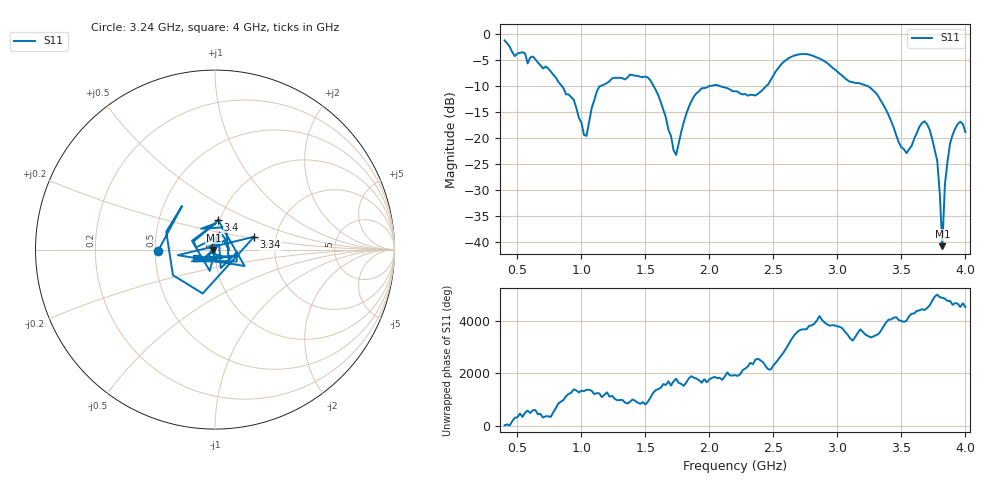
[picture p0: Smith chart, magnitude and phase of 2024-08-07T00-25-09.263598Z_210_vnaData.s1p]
!Created with skrf (http://scikit-rf.org).
# Hz S RI R 50.0
!freq ReS11 ImS11
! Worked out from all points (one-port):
!   181 points, 400 MHz to 4 GHz, reference 50 ohm
!   lowest |S11| = -40.7 dB at 3.82 GHz (marker M1), VSWR 1.02, Z = 49.1 - j0.201 ohm
!   |S11| at or under -10 dB: 1.566 GHz to 1.994 GHz (428.4 MHz wide, 24.1 % of centre); 2.089 GHz to 2.441 GHz (352 MHz wide, 15.5 % of centre); 3.242 GHz to end of sweep (the widest 3 of 4)
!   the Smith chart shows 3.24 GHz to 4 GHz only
!   S11 on the Smith chart (normalised r, x): 3.24 GHz: 0.52, -0.01; 3.34 GHz: 1.54, +0.23; 3.4 GHz: 0.98, +0.33; 4 GHz: 0.81, -0.07
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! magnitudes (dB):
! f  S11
! 400 MHz  -1.2
! 860 MHz  -10.3
! 940 MHz  -12.6
! 1.04 GHz  -19.5
! 1.14 GHz  -10.0
! 1.3 GHz  -8.3
! 1.54 GHz  -8.9
! 1.72 GHz  -22.3
! 1.76 GHz  -21.0
! 1.84 GHz  -13.9
! 1.94 GHz  -10.4
! 2.2 GHz  -10.9
! 2.36 GHz  -11.8
! 2.66 GHz  -4.1
! 3.1 GHz  -9.1
! 3.24 GHz  -10.0
! 3.34 GHz  -12.8
! 3.4 GHz  -15.5
! 3.5 GHz  -21.7
! 3.56 GHz  -22.1
! 3.66 GHz  -17.1
! 3.72 GHz  -18.3
! 3.78 GHz  -24.3
! 3.82 GHz  -40.7
! 3.84 GHz  -28.8
! 3.88 GHz  -21.0
! 3.96 GHz  -16.8
! 4 GHz  -18.8
